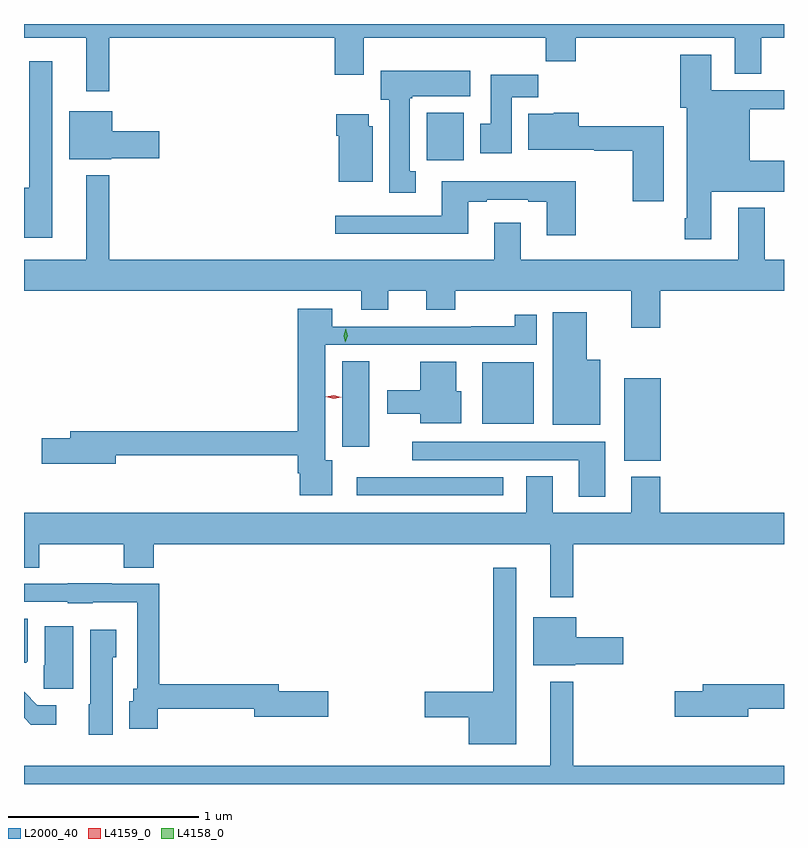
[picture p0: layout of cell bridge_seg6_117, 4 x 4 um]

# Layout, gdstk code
import gdstk
lib = gdstk.Library(unit=1e-6, precision=1e-09)
def R(c, l, rs):  # rectangles x0, y0, x1, y1
    for r in rs: c.add(gdstk.rectangle(r[:2], r[2:], *l))
def P(c, l, *ps):  # polygons
    for p in ps: c.add(gdstk.Polygon(p, *l))
L2000_40 = (2000, 40)
L4158_0 = (4158, 0)
L4159_0 = (4159, 0)

bridge_seg6_117 = lib.new_cell('bridge_seg6_117')
R(bridge_seg6_117, L2000_40, [(407.862,920.952,408.634,921.048), (409.271,921.134,409.462,921.568), (407.786,921.207,407.929,921.659), (408.524,921.329,408.796,921.652), (408.231,922.716,408.427,922.966)])
P(bridge_seg6_117, L2000_40, [(406.561,923.36),(407.747,923.36),(407.747,923.166),(407.899,923.166),(407.899,923.36),(408.859,923.36),(408.859,923.236),(409.016,923.236),(409.016,923.36),(409.853,923.36),(409.853,923.17),(409.993,923.17),(409.993,923.36),(410.112,923.36),(410.112,923.433),(406.112,923.433),(406.112,923.36),(406.439,923.36),(406.439,923.079),(406.561,923.079)],
  [(409.729,922.55),(410.112,922.55),(410.112,922.714),(409.933,922.714),(409.933,922.984),(410.112,922.984),(410.112,923.085),(409.729,923.085),(409.729,923.272),(409.565,923.272),(409.565,922.992),(409.601,922.992),(409.601,922.411),(409.589,922.411),(409.589,922.299),(409.729,922.299)],
  [(406.261,923.236),(406.14,923.236),(406.14,922.57),(406.112,922.57),(406.112,922.307),(406.261,922.307)],
  [(408.175,922.657),(408.142,922.657),(408.142,923.041),(408.156,923.041),(408.156,923.054),(408.46,923.054),(408.46,923.188),(407.99,923.188),(407.99,923.034),(408.035,923.034),(408.035,922.545),(408.175,922.545)],
  [(408.679,923.048),(408.818,923.048),(408.818,923.167),(408.569,923.167),(408.569,922.908),(408.512,922.908),(408.512,922.752),(408.679,922.752)],
  [(406.572,922.727),(406.825,922.727),(406.825,922.869),(406.576,922.869),(406.576,922.975),(406.349,922.975),(406.349,922.721),(406.572,922.721)],
  [(409.48,922.894),(409.031,922.894),(409.031,922.966),(408.9,922.966),(408.9,922.96),(408.767,922.96),(408.767,922.772),(409.114,922.772),(409.114,922.765),(409.315,922.765),(409.315,922.5),(409.48,922.5)],
  [(407.947,922.896),(407.926,922.896),(407.926,922.957),(407.756,922.957),(407.756,922.844),(407.768,922.844),(407.768,922.604),(407.947,922.604)],
  [(409.46,922.028),(410.112,922.028),(410.112,922.192),(410.011,922.192),(410.011,922.465),(409.871,922.465),(409.871,922.192),(408.727,922.192),(408.727,922.387),(408.587,922.387),(408.587,922.192),(406.561,922.192),(406.561,922.636),(406.439,922.636),(406.439,922.192),(406.112,922.192),(406.112,922.028),(407.888,922.028),(407.888,921.929),(408.028,921.929),(408.028,922.028),(408.23,922.028),(408.23,921.929),(408.383,921.929),(408.383,922.028),(409.307,922.028),(409.307,921.834),(409.46,921.834)],
  [(409.016,922.606),(408.311,922.606),(408.311,922.425),(407.751,922.425),(407.751,922.328),(408.451,922.328),(408.451,922.497),(408.547,922.497),(408.547,922.509),(408.767,922.509),(408.767,922.497),(408.863,922.497),(408.863,922.32),(409.016,922.32)],
  [(407.734,921.136),(407.698,921.136),(407.698,921.744),(408.811,921.744),(408.811,921.904),(408.694,921.904),(408.694,921.842),(408.466,921.842),(408.466,921.84),(407.734,921.84),(407.734,921.934),(407.552,921.934),(407.552,921.29),(406.355,921.29),(406.355,921.254),(406.206,921.254),(406.206,921.119),(406.594,921.119),(406.594,921.162),(407.552,921.162),(407.552,921.068),(407.564,921.068),(407.564,920.954),(407.734,920.954)],
  [(409.144,921.667),(409.075,921.667),(409.075,921.916),(408.896,921.916),(408.896,921.323),(409.144,921.323)],
  [(408.412,921.501),(408.388,921.501),(408.388,921.655),(408.197,921.655),(408.197,921.505),(408.024,921.505),(408.024,921.383),(408.197,921.383),(408.197,921.332),(408.412,921.332)],
  [(409.171,921.234),(408.156,921.234),(408.156,921.138),(409.031,921.138),(409.031,920.946),(409.171,920.946)],
  [(409.003,920.696),(410.112,920.696),(410.112,920.86),(409.46,920.86),(409.46,921.049),(409.307,921.049),(409.307,920.86),(408.895,920.86),(408.895,921.053),(408.755,921.053),(408.755,920.86),(406.112,920.86),(406.112,920.572),(406.191,920.572),(406.191,920.696),(406.636,920.696),(406.636,920.572),(406.796,920.572),(406.796,920.696),(408.881,920.696),(408.881,920.415),(409.003,920.415)],
  [(408.703,920.572),(408.582,920.572),(408.582,919.919),(408.222,919.919),(408.222,919.784),(408.452,919.784),(408.452,919.643),(408.703,919.643)],
  [(406.817,919.83),(407.324,919.83),(407.324,919.787),(407.713,919.787),(407.713,919.922),(407.452,919.922),(407.452,919.958),(406.823,919.958),(406.823,920.487),(406.573,920.487),(406.573,920.489),(406.341,920.489),(406.341,920.487),(406.112,920.487),(406.112,920.391),(406.341,920.391),(406.341,920.384),(406.473,920.384),(406.473,920.39),(406.707,920.39),(406.707,919.935),(406.688,919.935),(406.688,919.869),(406.667,919.869),(406.667,919.725),(406.817,919.725)],
  [(409.014,920.063),(409.267,920.063),(409.267,920.205),(409.018,920.205),(409.018,920.311),(408.791,920.311),(408.791,920.057),(409.014,920.057)],
  [(406.132,920.08),(406.132,920.302),(406.112,920.302),(406.112,920.072),(406.124,920.072)],
  [(406.372,920.263),(406.22,920.263),(406.22,920.058),(406.216,920.058),(406.216,919.935),(406.372,919.935)],
  [(406.579,920.1),(406.597,920.1),(406.597,920.245),(406.46,920.245),(406.46,919.854),(406.454,919.854),(406.454,919.692),(406.579,919.692)],
  [(410.112,919.528),(409.003,919.528),(409.003,919.972),(408.881,919.972),(408.881,919.528),(406.112,919.528),(406.112,919.433),(410.112,919.433)],
  [(409.924,919.83),(410.112,919.83),(410.112,919.958),(409.685,919.958),(409.685,919.922),(409.536,919.922),(409.536,919.787),(409.924,919.787)],
  [(406.282,919.848),(406.182,919.848),(406.112,919.918),(406.112,919.781),(406.147,919.746),(406.282,919.746)])
P(bridge_seg6_117, L4158_0, [(407.804,921.757),(407.804,921.757),(407.795,921.793),(407.805,921.829),(407.805,921.829),(407.805,921.829),(407.815,921.793),(407.804,921.757)])
P(bridge_seg6_117, L4159_0, [(407.742,921.46),(407.701,921.471),(407.701,921.471),(407.701,921.471),(407.742,921.48),(407.783,921.469),(407.783,921.469),(407.783,921.469)])

lib.write_gds('bridge_seg6_117.gds')
